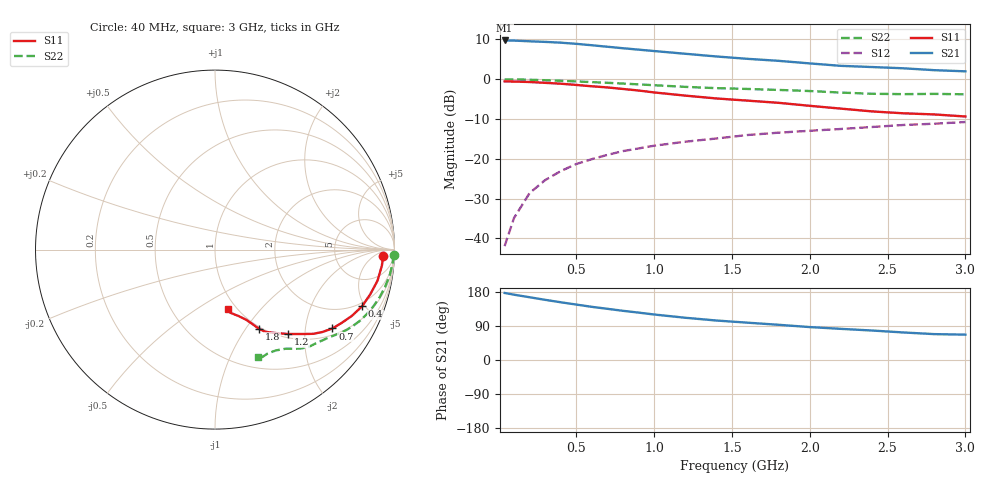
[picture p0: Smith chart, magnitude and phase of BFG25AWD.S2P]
! Filename:  BFG25AWD.S2P  Version:  4.0
! Philips part #: BFG25A/X  Date: Jun 1994
! Bias condition: Vce=1V, Ic=1.0mA
! IN LINE PINNING: same data as with cross emitter pinning.
#  MHz  S  MA  R  50
! Freq  S11  S21  S12  S22  !GUM [dB]
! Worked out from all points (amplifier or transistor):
!   21 points, 40 MHz to 3 GHz, reference 50 ohm
!   highest |S21| = 9.7 dB at 40 MHz (marker M1)
!   |S21| within 3 dB of that: start of sweep to 1.101 GHz
!   unconditionally stable (mu >= 1): nowhere
!   at 300 MHz: K = 0.16, MSG = 17.4 dB, |S12| = -25.4 dB
!   at 1 GHz: K = 0.49, MSG = 11.9 dB, |S12| = -16.7 dB
!   at 3 GHz: K = 0.91, MSG = 6.4 dB, |S12| = -10.8 dB
!   S11 on the Smith chart (normalised r, x): 40 MHz: 22, -14; 400 MHz: 1.73, -4.77; 700 MHz: 1.21, -2.81; 1.2 GHz: 1.07, -1.64; 1.8 GHz: 0.97, -1.15; 3 GHz: 0.91, -0.69
40  0.938 -2.3  3.065 176.9  0.008 85.5  0.995 -1.7
100  0.934 -5.5  3.053 172.4  0.018 86.5  0.993 -4.2
200  0.922 -10.8  2.992 165.6  0.037 82.5  0.984 -8.3
300  0.9 -16.1  2.941 158.8  0.054 79.6  0.97 -12.4
400  0.878 -21.1  2.876 152.4  0.07 76.2  0.955 -16.1
500  0.847 -25.9  2.779 146.3  0.086 73.6  0.937 -19.8
600  0.815 -30.1  2.669 140.3  0.099 71.6  0.919 -23.0
700  0.788 -33.9  2.556 135.1  0.112 69.6  0.901 -26.0
800  0.754 -37.5  2.448 129.8  0.125 67.9  0.881 -28.6
900  0.721 -40.6  2.351 125.1  0.135 66.3  0.861 -31.2
1000  0.682 -43.6  2.258 120.1  0.146 64.4  0.84 -33.5
1200  0.622 -49.1  2.086 111.5  0.164 61.3  0.801 -37.7
1400  0.573 -54.2  1.929 104.2  0.18 59.9  0.772 -42.0
1600  0.538 -58.4  1.802 98.5  0.199 58.2  0.754 -45.8
1800  0.505 -61.0  1.7 92.9  0.213 56.9  0.733 -48.6
2000  0.463 -63.4  1.578 86.9  0.225 55.7  0.71 -51.1
2200  0.427 -66.1  1.471 82.2  0.237 54.7  0.679 -54.4
2400  0.394 -70.3  1.421 77.8  0.251 52.8  0.656 -58.9
2600  0.373 -74.1  1.371 72.7  0.266 51.3  0.649 -63.1
2800  0.361 -76.6  1.298 68.3  0.276 50.6  0.654 -66.1
3000  0.34 -77.4  1.255 66.9  0.29 50.8  0.646 -68.4
